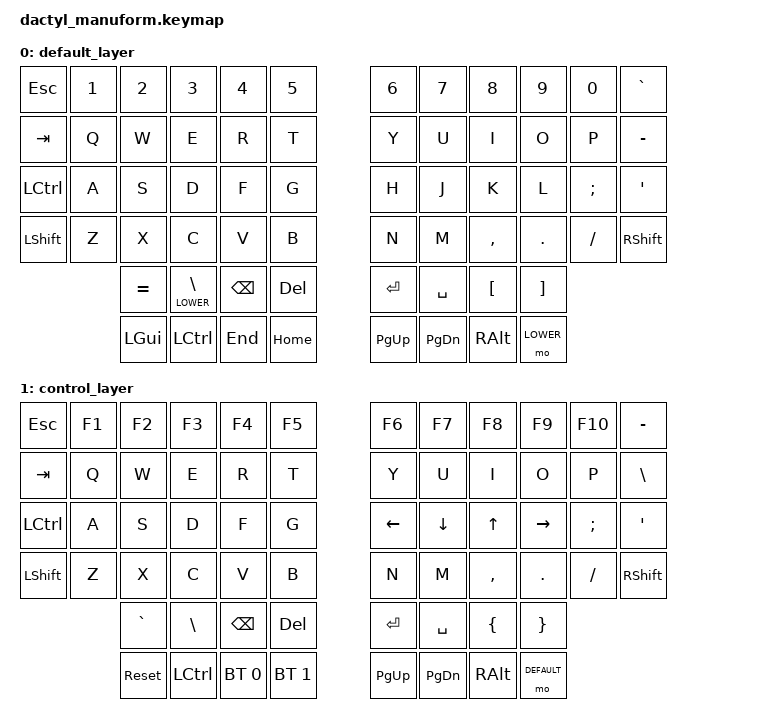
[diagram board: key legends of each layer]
/*
 * Copyright (c) 2020 The ZMK Contributors
 *
 * SPDX-License-Identifier: MIT
 */


#include <behaviors.dtsi>
#include <dt-bindings/zmk/keys.h>
#include <dt-bindings/zmk/bt.h>
#define DEFAULT 0
#define LOWER   1

/ {
    keymap {
        compatible = "zmk,keymap";

        default_layer {
// ------------------------------------------------------------------------------------------------------------
// |  ESC  |  1  |  2  |  3   |  4   |  5   |                   |  6   |  7    |  8    |  9   |   0   |   -   |
// |  TAB  |  Q  |  W  |  E   |  R   |  T   |                   |  Y   |  U    |  I    |  O   |   P   |   \   |
// |  CTRL |  A  |  S  |  D   |  F   |  G   |                   |  H   |  J    |  K    |  L   |   ;   |   '   |
// | SHIFT |  Z  |  X  |  C   |  V   |  B   |                   |  N   |  M    |  ,    |  .   |   /   | SHIFT |
//               | +   | BLSH |                                                | LBKT  | RBKT |
//                     | DEL  | BSPC |                          | RET  | SPC   |
//                     | FN   | LCTL |                          | RALT  | RCTL |
//                     | HOME | END  |                          | PGUP | PGDN  |
        bindings = <
&kp ESC   &kp N1    &kp N2     &kp N3          &kp N4    &kp N5                &kp N6    &kp N7    &kp N8    &kp N9    &kp N0   &kp GRAVE
&kp TAB   &kp Q     &kp W      &kp E           &kp R     &kp T                 &kp Y     &kp U     &kp I     &kp O     &kp P    &kp MINUS
&kp LCTRL &kp A     &kp S      &kp D           &kp F     &kp G                 &kp H     &kp J     &kp K     &kp L     &kp SEMI &kp SQT
&kp LSHFT &kp Z     &kp X      &kp C           &kp V     &kp B                 &kp N     &kp M     &kp COMMA &kp DOT   &kp FSLH &kp RSHFT
                    &kp EQUAL  &lt LOWER BSLH  &kp BSPC  &kp DEL               &kp RET   &kp SPACE &kp LBKT  &kp RBKT
                    &kp LGUI   &kp LCTRL       &kp END   &kp HOME              &kp PG_UP &kp PG_DN &kp RALT &mo LOWER
            >;
        };
        control_layer {
// ------------------------------------------------------------------------------------------------------------
// |  ESC  |  1  |  2  |  3   |  4   |  5   |                   |  6   |  7    |  8    |  9   |   0   |   -   |
// |  TAB  |  Q  |  W  |  E   |  R   |  T   |                   |  Y   |  U    |  I    |  O   |   P   |   \   |
// |  CTRL |  A  |  S  |  D   |  F   |  G   |                   | LEFT | DOWN  |  UP   | RIGHT|   ;   |   '   |
// | SHIFT |  Z  |  X  |  C   |  V   |  B   |                   |  N   |  M    |  ,    |  .   |   /   | SHIFT |
//               | GRV | BSLH |                                                | LBRC  | RBRC |
//                     | DEL  | BSPC |                          | RET  | SPC   |
//                     | FN   | LCTL |                          | RALT  | RCTL |
//                     | HOME | END  |                          | PGUP | PGDN  |
        bindings = <
&kp ESC   &kp F1    &kp F2     &kp F3       &kp F4        &kp F5            &kp F6    &kp F7   &kp F8    &kp F9    &kp F10  &kp MINUS
&kp TAB   &kp Q     &kp W      &kp E        &kp R         &kp T             &kp Y     &kp U    &kp I     &kp O     &kp P    &kp BSLH
&kp LCTRL &kp A     &kp S      &kp D        &kp F         &kp G             &kp LEFT  &kp DOWN &kp UP    &kp RIGHT &kp SEMI &kp SQT
&kp LSHFT &kp Z     &kp X      &kp C        &kp V         &kp B             &kp N     &kp M    &kp COMMA &kp DOT   &kp FSLH &kp RSHFT
                    &kp GRAVE  &kp BSLH     &kp BSPC      &kp DEL           &kp RET   &kp SPACE &kp LBRC  &kp RBRC
                    &sys_reset     &kp LCTRL    &bt BT_SEL 0  &bt BT_SEL 1        &kp PG_UP &kp PG_DN &kp RALT  &mo DEFAULT
            >;
        };
    };
};
